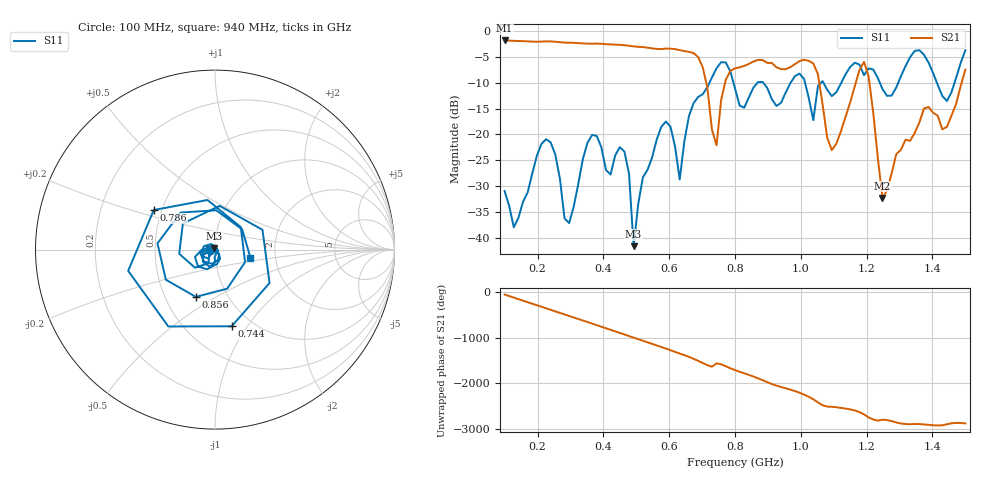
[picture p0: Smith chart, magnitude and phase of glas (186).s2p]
! NanoVNA-App
! Date: 2025-09-25 15:56:55
! Start: 100MHz Stop: 1,5GHz Points: 101
! S-Parameter data: F S11 S21 S12 S22
# Hz S RI R 50
!  Frequency  S11_Real  S11_Imag  S21_Real  S21_Imag  S12_Real  S12_Imag  S22_Real  S22_Imag
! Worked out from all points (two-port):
!   101 points, 100 MHz to 1.5 GHz, reference 50 ohm
!   highest |S21| = -1.80 dB at 100 MHz (marker M1); lowest = -32.3 dB at 1.248 GHz (marker M2)
!   |S21| within 3 dB of the highest: start of sweep to 684.2 MHz
!   lowest |S11| = -41.6 dB at 492 MHz (marker M3), VSWR 1.02, Z = 49.5 + j0.639 ohm
!   |S11| at or under -10 dB: start of sweep to 722.3 MHz; 795.4 MHz to 868.2 MHz (72.86 MHz wide, 8.76 % of centre); 886 MHz to 968.9 MHz (82.89 MHz wide, 8.94 % of centre) (the widest 3 of 7)
!   S12 and S22 are empty: the file has one direction only
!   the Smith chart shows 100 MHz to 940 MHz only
!   S11 on the Smith chart (normalised r, x): 100 MHz: 0.95, -0.01; 744 MHz: 0.80, -0.85; 786 MHz: 0.45, +0.24; 856 MHz: 0.71, -0.41; 940 MHz: 1.48, -0.14
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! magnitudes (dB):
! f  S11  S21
! 100 MHz  -30.9  -1.8
! 128 MHz  -38.0  -1.9
! 226 MHz  -20.9  -2.0
! 296 MHz  -37.2  -2.2
! 338 MHz  -24.7  -2.4
! 464 MHz  -23.3  -2.7
! 492 MHz  -41.6  -2.9
! 576 MHz  -18.5  -3.5
! 632 MHz  -28.7  -3.7
! 702 MHz  -12.2  -7.0
! 744 MHz  -7.2  -22.1
! 786 MHz  -7.8  -7.7
! 800 MHz  -11.1  -7.2
! 856 MHz  -10.9  -5.9
! 940 MHz  -13.9  -7.4
! 1.038 GHz  -17.2  -6.2
! 1.094 GHz  -12.6  -23.0
! 1.192 GHz  -8.5  -6.0
! 1.248 GHz  -11.2  -32.3
! 1.276 GHz  -12.5  -27.5
! 1.444 GHz  -13.5  -18.5
! 1.5 GHz  -3.7  -7.4
